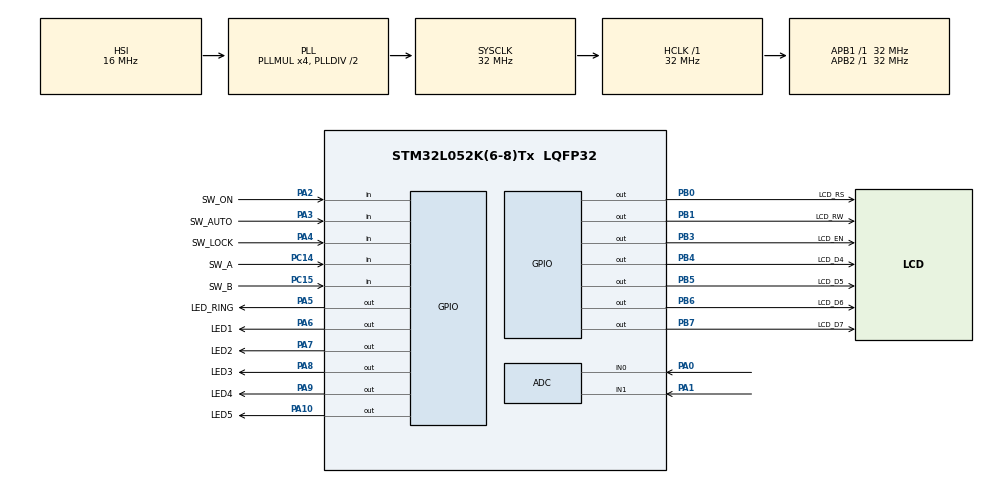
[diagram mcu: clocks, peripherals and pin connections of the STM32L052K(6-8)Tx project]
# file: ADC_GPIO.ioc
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ADC.SamplingTime=ADC_SAMPLETIME_160CYCLES_5
Mcu.Family=STM32L0
Mcu.Name=STM32L052K(6-8)Tx
Mcu.Package=LQFP32
PA0.Mode=IN0
PA0.Signal=ADC_IN0
PA1.Mode=IN1
PA1.Signal=ADC_IN1
PA10.GPIO_Label=LED5
PA10.Signal=GPIO_Output
PA13.Mode=Serial_Wire
PA13.Signal=SYS_SWDIO
PA14.Mode=Serial_Wire
PA14.Signal=SYS_SWCLK
PA2.GPIO_Label=SW_ON
PA2.GPIO_PuPd=GPIO_PULLUP
PA2.Signal=GPIO_Input
PA3.GPIO_Label=SW_AUTO
PA3.GPIO_PuPd=GPIO_PULLUP
PA3.Signal=GPIO_Input
PA4.GPIO_Label=SW_LOCK
PA4.GPIO_PuPd=GPIO_PULLUP
PA4.Signal=GPIO_Input
PA5.GPIO_Label=LED_RING
PA5.Signal=GPIO_Output
PA6.GPIO_Label=LED1
PA6.Signal=GPIO_Output
PA7.GPIO_Label=LED2
PA7.Signal=GPIO_Output
PA8.GPIO_Label=LED3
PA8.Signal=GPIO_Output
PA9.GPIO_Label=LED4
PA9.Signal=GPIO_Output
PB0.GPIO_Label=LCD_RS
PB0.Signal=GPIO_Output
PB1.GPIO_Label=LCD_RW
PB1.Signal=GPIO_Output
PB3.GPIO_Label=LCD_EN
PB3.Signal=GPIO_Output
PB4.GPIO_Label=LCD_D4
PB4.Signal=GPIO_Output
PB5.GPIO_Label=LCD_D5
PB5.Signal=GPIO_Output
PB6.GPIO_Label=LCD_D6
PB6.Signal=GPIO_Output
PB7.GPIO_Label=LCD_D7
PB7.Signal=GPIO_Output
PC14-OSC32_IN.GPIO_Label=SW_A
PC14-OSC32_IN.Signal=GPIO_Input
PC15-OSC32_OUT.GPIO_Label=SW_B
PC15-OSC32_OUT.GPIO_PuPd=GPIO_PULLUP
PC15-OSC32_OUT.Signal=GPIO_Input
ProjectManager.HeapSize=0x200
ProjectManager.StackSize=0x400
ProjectManager.TargetToolchain=STM32CubeIDE
RCC.AHBFreq_Value=32000000
RCC.APB1Freq_Value=32000000
RCC.APB1TimFreq_Value=32000000
RCC.APB2Freq_Value=32000000
RCC.APB2TimFreq_Value=32000000
RCC.HCLKFreq_Value=32000000
RCC.HSI16_VALUE=16000000
RCC.HSI48_VALUE=48000000
RCC.HSI_VALUE=16000000
RCC.LSE_VALUE=32768
RCC.MSI_VALUE=2097000
RCC.PLLMUL=RCC_PLLMUL_4
RCC.SYSCLKFreq_VALUE=32000000
RCC.SYSCLKSource=RCC_SYSCLKSOURCE_PLLCLK
RCC.VCOOutputFreq_Value=64000000
board=custom

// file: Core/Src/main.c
/* USER CODE BEGIN Header */
/**
 ******************************************************************************
 * @file           : main.c
 * @brief          : Main program body
 ******************************************************************************
 * @attention
 *
 * Copyright (c) 2022 STMicroelectronics.
 * All rights reserved.
 *
 * This software is licensed under terms that can be found in the LICENSE file
 * in the root directory of this software component.
 * If no LICENSE file comes with this software, it is provided AS-IS.
 *
 ******************************************************************************
 */
/* USER CODE END Header */
#include "main.h"

/* USER CODE BEGIN Includes */
#include "control_hardware.h"
/* USER CODE END Includes */

/* USER CODE BEGIN PTD */
enum _bool {
	false, true
};
typedef uint8_t boolean;
/* USER CODE END PTD */

/* USER CODE BEGIN PD */
#define SW1 HAL_GPIO_ReadPin(SW_ON_GPIO_Port, SW_ON_Pin)
#define SW2 HAL_GPIO_ReadPin(SW_LOCK_GPIO_Port, SW_LOCK_Pin)
#define SW3 HAL_GPIO_ReadPin(SW_AUTO_GPIO_Port, SW_AUTO_Pin)
#define SW4 HAL_GPIO_ReadPin(SW_A_GPIO_Port, SW_A_Pin)
#define SW5 HAL_GPIO_ReadPin(SW_B_GPIO_Port, SW_B_Pin)
#define LED(N, X) HAL_GPIO_WritePin(LED##N##_GPIO_Port, LED##N##_Pin, !X)
#define NOW HAL_GetTick()
/* USER CODE END PD */

 ADC_HandleTypeDef hadc;

void SystemClock_Config(void);
static void MX_GPIO_Init(void);
static void MX_ADC_Init(void);

/* USER CODE BEGIN 0 */

//uint16_t cds, vr;

void read_ADC(uint16_t *cds, uint16_t *vr) {
	HAL_ADC_Start(&hadc);
	HAL_ADC_PollForConversion(&hadc, 1000);
	*cds = HAL_ADC_GetValue(&hadc);
	HAL_ADC_PollForConversion(&hadc, 1000);
	*vr = HAL_ADC_GetValue(&hadc);
	HAL_ADC_Stop(&hadc);
}
/* USER CODE END 0 */

int main(void)
{
  /* USER CODE BEGIN 1 */
	uint32_t led_Ring_Data[3][12] = {{0xFFFFFF,0x1AFFFF,0x1AFF1A,0xFFFFFF,0x1AFFFF,0x1AFF1A,0xFFFFFF,0x1AFFFF,0x1AFF1A,0xFFFFFF,0x1AFFFF,0x1AFF1A},
									 {0x1AFFFF,0x1AFF1A,0xFFFFFF,0x1AFFFF,0x1AFF1A,0xFFFFFF,0x1AFFFF,0x1AFF1A,0xFFFFFF,0x1AFFFF,0x1AFF1A,0xFFFFFF},
									 {0x1AFF1A,0xFFFFFF,0x1AFFFF,0x1AFF1A,0xFFFFFF,0x1AFFFF,0x1AFF1A,0xFFFFFF,0x1AFFFF,0x1AFF1A,0xFFFFFF,0x1AFFFF}};
	uint32_t last = NOW;
	uint16_t cds, vr;
  /* USER CODE END 1 */

  /* MCU Configuration--------------------------------------------------------*/

  /* Reset of all peripherals, Initializes the Flash interface and the Systick. */
  HAL_Init();

  /* Configure the system clock */
  SystemClock_Config();

  /* Initialize all configured peripherals */
  MX_GPIO_Init();
  MX_ADC_Init();

  /* Infinite loop */
  /* USER CODE BEGIN WHILE */
	while (1) {
		read_ADC(&cds, &vr);
		LED(1, (((double) vr / 1023.75) == 0 || cds > 4000));
		LED(2, (((double) vr / 1023.75) == 1 || cds > 4000));
		LED(3, (((double) vr / 1023.75) == 2 || cds > 4000));
		LED(4, (((double) vr / 1023.75) == 3 || cds > 4000));
		LED(5, (((double) vr / 1023.75) == 4 || cds > 4000));
		if(NOW - last >= 1000){
			last = NOW;
			led_ring_update(led_Ring_Data[(vr / 1365)]);
		}
    /* USER CODE END WHILE */

	}
}

void SystemClock_Config(void)
{
  RCC_OscInitTypeDef RCC_OscInitStruct = {0};
  RCC_ClkInitTypeDef RCC_ClkInitStruct = {0};

  /** Configure the main internal regulator output voltage
  */
  __HAL_PWR_VOLTAGESCALING_CONFIG(PWR_REGULATOR_VOLTAGE_SCALE1);

  /** Initializes the RCC Oscillators according to the specified parameters
  * in the RCC_OscInitTypeDef structure.
  */
  RCC_OscInitStruct.OscillatorType = RCC_OSCILLATORTYPE_HSI;
  RCC_OscInitStruct.HSIState = RCC_HSI_ON;
  RCC_OscInitStruct.HSICalibrationValue = RCC_HSICALIBRATION_DEFAULT;
  RCC_OscInitStruct.PLL.PLLState = RCC_PLL_ON;
  RCC_OscInitStruct.PLL.PLLSource = RCC_PLLSOURCE_HSI;
  RCC_OscInitStruct.PLL.PLLMUL = RCC_PLLMUL_4;
  RCC_OscInitStruct.PLL.PLLDIV = RCC_PLLDIV_2;
  if (HAL_RCC_OscConfig(&RCC_OscInitStruct) != HAL_OK)
  {
    Error_Handler();
  }

  /** Initializes the CPU, AHB and APB buses clocks
  */
  RCC_ClkInitStruct.ClockType = RCC_CLOCKTYPE_HCLK|RCC_CLOCKTYPE_SYSCLK
                              |RCC_CLOCKTYPE_PCLK1|RCC_CLOCKTYPE_PCLK2;
  RCC_ClkInitStruct.SYSCLKSource = RCC_SYSCLKSOURCE_PLLCLK;
  RCC_ClkInitStruct.AHBCLKDivider = RCC_SYSCLK_DIV1;
  RCC_ClkInitStruct.APB1CLKDivider = RCC_HCLK_DIV1;
  RCC_ClkInitStruct.APB2CLKDivider = RCC_HCLK_DIV1;

  if (HAL_RCC_ClockConfig(&RCC_ClkInitStruct, FLASH_LATENCY_1) != HAL_OK)
  {
    Error_Handler();
  }
}

static void MX_ADC_Init(void)
{

  ADC_ChannelConfTypeDef sConfig = {0};

  /** Configure the global features of the ADC (Clock, Resolution, Data Alignment and number of conversion)
  */
  hadc.Instance = ADC1;
  hadc.Init.OversamplingMode = DISABLE;
  hadc.Init.ClockPrescaler = ADC_CLOCK_SYNC_PCLK_DIV2;
  hadc.Init.Resolution = ADC_RESOLUTION_12B;
  hadc.Init.SamplingTime = ADC_SAMPLETIME_160CYCLES_5;
  hadc.Init.ScanConvMode = ADC_SCAN_DIRECTION_FORWARD;
  hadc.Init.DataAlign = ADC_DATAALIGN_RIGHT;
  hadc.Init.ContinuousConvMode = DISABLE;
  hadc.Init.DiscontinuousConvMode = DISABLE;
  hadc.Init.ExternalTrigConvEdge = ADC_EXTERNALTRIGCONVEDGE_NONE;
  hadc.Init.ExternalTrigConv = ADC_SOFTWARE_START;
  hadc.Init.DMAContinuousRequests = DISABLE;
  hadc.Init.EOCSelection = ADC_EOC_SINGLE_CONV;
  hadc.Init.Overrun = ADC_OVR_DATA_PRESERVED;
  hadc.Init.LowPowerAutoWait = DISABLE;
  hadc.Init.LowPowerFrequencyMode = DISABLE;
  hadc.Init.LowPowerAutoPowerOff = DISABLE;
  if (HAL_ADC_Init(&hadc) != HAL_OK)
  {
    Error_Handler();
  }

  /** Configure for the selected ADC regular channel to be converted.
  */
  sConfig.Channel = ADC_CHANNEL_0;
  sConfig.Rank = ADC_RANK_CHANNEL_NUMBER;
  if (HAL_ADC_ConfigChannel(&hadc, &sConfig) != HAL_OK)
  {
    Error_Handler();
  }

  /** Configure for the selected ADC regular channel to be converted.
  */
  sConfig.Channel = ADC_CHANNEL_1;
  if (HAL_ADC_ConfigChannel(&hadc, &sConfig) != HAL_OK)
  {
    Error_Handler();
  }

}

static void MX_GPIO_Init(void)
{
  GPIO_InitTypeDef GPIO_InitStruct = {0};

  /* GPIO Ports Clock Enable */
  __HAL_RCC_GPIOC_CLK_ENABLE();
  __HAL_RCC_GPIOA_CLK_ENABLE();
  __HAL_RCC_GPIOB_CLK_ENABLE();

  /*Configure GPIO pin Output Level */
  HAL_GPIO_WritePin(GPIOA, LED_RING_Pin|LED1_Pin|LED2_Pin|LED3_Pin
                          |LED4_Pin|LED5_Pin, GPIO_PIN_RESET);

  /*Configure GPIO pin Output Level */
  HAL_GPIO_WritePin(GPIOB, LCD_RS_Pin|LCD_RW_Pin|LCD_EN_Pin|LCD_D4_Pin
                          |LCD_D5_Pin|LCD_D6_Pin|LCD_D7_Pin, GPIO_PIN_RESET);

  /*Configure GPIO pin : SW_A_Pin */
  GPIO_InitStruct.Pin = SW_A_Pin;
  GPIO_InitStruct.Mode = GPIO_MODE_INPUT;
  GPIO_InitStruct.Pull = GPIO_NOPULL;
  HAL_GPIO_Init(SW_A_GPIO_Port, &GPIO_InitStruct);

  /*Configure GPIO pin : SW_B_Pin */
  GPIO_InitStruct.Pin = SW_B_Pin;
  GPIO_InitStruct.Mode = GPIO_MODE_INPUT;
  GPIO_InitStruct.Pull = GPIO_PULLUP;
  HAL_GPIO_Init(SW_B_GPIO_Port, &GPIO_InitStruct);

  /*Configure GPIO pins : SW_ON_Pin SW_AUTO_Pin SW_LOCK_Pin */
  GPIO_InitStruct.Pin = SW_ON_Pin|SW_AUTO_Pin|SW_LOCK_Pin;
  GPIO_InitStruct.Mode = GPIO_MODE_INPUT;
  GPIO_InitStruct.Pull = GPIO_PULLUP;
  HAL_GPIO_Init(GPIOA, &GPIO_InitStruct);

  /*Configure GPIO pins : LED_RING_Pin LED1_Pin LED2_Pin LED3_Pin
                           LED4_Pin LED5_Pin */
  GPIO_InitStruct.Pin = LED_RING_Pin|LED1_Pin|LED2_Pin|LED3_Pin
                          |LED4_Pin|LED5_Pin;
  GPIO_InitStruct.Mode = GPIO_MODE_OUTPUT_PP;
  GPIO_InitStruct.Pull = GPIO_NOPULL;
  GPIO_InitStruct.Speed = GPIO_SPEED_FREQ_LOW;
  HAL_GPIO_Init(GPIOA, &GPIO_InitStruct);

  /*Configure GPIO pins : LCD_RS_Pin LCD_RW_Pin LCD_EN_Pin LCD_D4_Pin
                           LCD_D5_Pin LCD_D6_Pin LCD_D7_Pin */
  GPIO_InitStruct.Pin = LCD_RS_Pin|LCD_RW_Pin|LCD_EN_Pin|LCD_D4_Pin
                          |LCD_D5_Pin|LCD_D6_Pin|LCD_D7_Pin;
  GPIO_InitStruct.Mode = GPIO_MODE_OUTPUT_PP;
  GPIO_InitStruct.Pull = GPIO_NOPULL;
  GPIO_InitStruct.Speed = GPIO_SPEED_FREQ_LOW;
  HAL_GPIO_Init(GPIOB, &GPIO_InitStruct);

}

void Error_Handler(void)
{
	__disable_irq();
	while (1) {
	}
}
